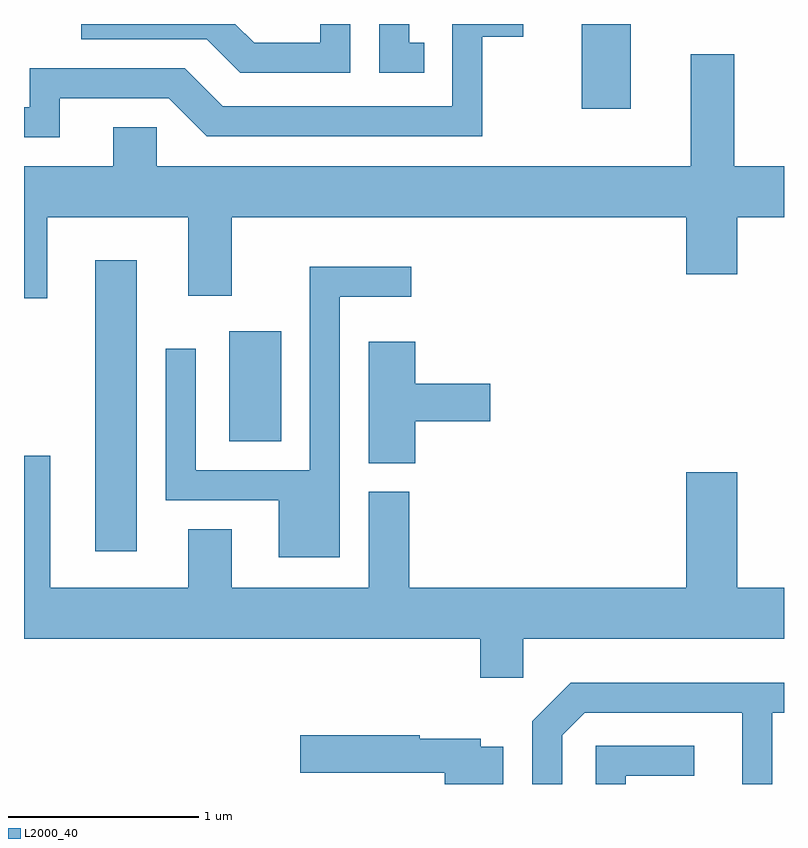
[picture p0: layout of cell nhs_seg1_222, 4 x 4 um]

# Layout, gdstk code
import gdstk
lib = gdstk.Library(unit=1e-6, precision=1e-09)
def R(c, l, rs):  # rectangles x0, y0, x1, y1
    for r in rs: c.add(gdstk.rectangle(r[:2], r[2:], *l))
def P(c, l, *ps):  # polygons
    for p in ps: c.add(gdstk.Polygon(p, *l))
L2000_40 = (2000, 40)

nhs_seg1_222 = lib.new_cell('nhs_seg1_222')
R(nhs_seg1_222, L2000_40, [(191.986,888.936,192.204,890.469), (192.691,889.516,192.964,890.094), (194.546,891.266,194.804,891.712)])
P(nhs_seg1_222, L2000_40, [(193.718,891.614),(193.639,891.614),(193.639,891.712),(193.481,891.712),(193.481,891.456),(193.718,891.456)],
  [(191.799,891.321),(192.374,891.321),(192.574,891.121),(194.024,891.121),(194.024,891.646),(194.239,891.646),(194.239,891.712),(193.866,891.712),(193.866,891.279),(192.657,891.279),(192.457,891.479),(191.641,891.479),(191.641,891.274),(191.611,891.274),(191.611,891.116),(191.799,891.116)],
  [(193.329,891.712),(193.171,891.712),(193.171,891.614),(192.822,891.614),(192.724,891.712),(191.911,891.712),(191.911,891.631),(192.574,891.631),(192.749,891.456),(193.329,891.456)],
  [(191.734,890.696),(192.476,890.696),(192.476,890.281),(192.704,890.281),(192.704,890.696),(195.096,890.696),(195.096,890.396),(195.364,890.396),(195.364,890.696),(195.611,890.696),(195.611,890.964),(195.349,890.964),(195.349,891.554),(195.121,891.554),(195.121,890.964),(192.309,890.964),(192.309,891.169),(192.081,891.169),(192.081,890.964),(191.611,890.964),(191.611,890.268),(191.734,890.268)],
  [(193.274,890.276),(193.648,890.276),(193.648,890.434),(193.116,890.434),(193.116,889.364),(192.514,889.364),(192.514,890.003),(192.356,890.003),(192.356,889.206),(192.951,889.206),(192.951,888.906),(193.274,888.906)],
  [(193.669,889.621),(194.064,889.621),(194.064,889.819),(193.669,889.819),(193.669,890.039),(193.426,890.039),(193.426,889.401),(193.669,889.401)],
  [(194.239,888.476),(195.611,888.476),(195.611,888.744),(195.364,888.744),(195.364,889.354),(195.096,889.354),(195.096,888.744),(193.639,888.744),(193.639,889.249),(193.426,889.249),(193.426,888.744),(192.704,888.744),(192.704,889.054),(192.476,889.054),(192.476,888.744),(191.749,888.744),(191.749,889.439),(191.611,889.439),(191.611,888.476),(194.011,888.476),(194.011,888.271),(194.239,888.271)],
  [(194.444,887.969),(194.562,888.086),(195.391,888.086),(195.391,887.712),(195.549,887.712),(195.549,888.086),(195.611,888.086),(195.611,888.244),(194.489,888.244),(194.286,888.042),(194.286,887.712),(194.444,887.712)],
  [(194.134,887.909),(194.014,887.909),(194.014,887.949),(193.694,887.949),(193.694,887.969),(193.066,887.969),(193.066,887.771),(193.826,887.771),(193.826,887.712),(194.134,887.712)],
  [(194.779,887.756),(195.138,887.756),(195.138,887.914),(194.621,887.914),(194.621,887.712),(194.779,887.712)])

lib.write_gds('nhs_seg1_222.gds')
